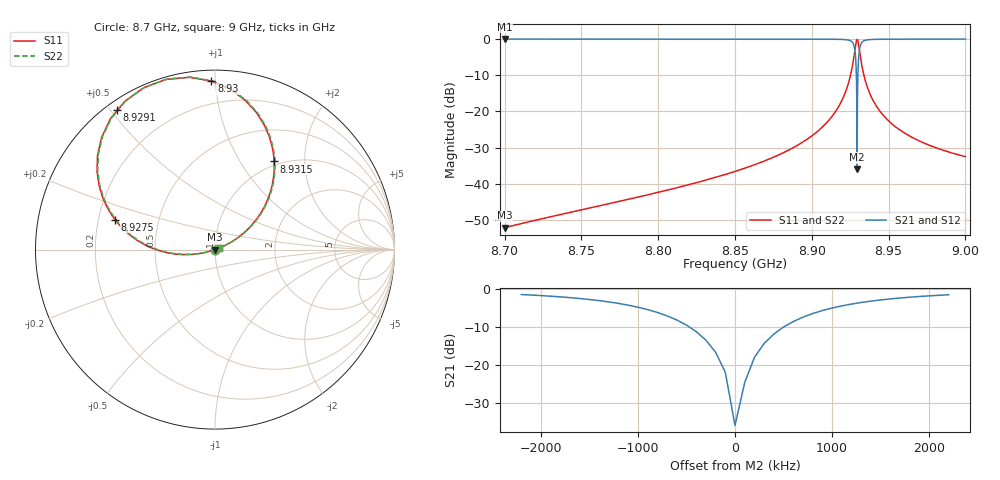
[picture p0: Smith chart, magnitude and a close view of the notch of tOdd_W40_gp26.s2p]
! Sonnet Data File
! From: emgraph Version : 16.52
! From Project: transmon_trial2
! Data is De-embedded
! Data File Written: 10/20/2017 11:33:10
!< HDATE 10/20/2017 10:41:42
!< MDATE 10/20/2017 10:41:42
!< PARAMS
!< Lj = 15.24
!< Gap = 26.0
!< Width = 40.0
!< Airgap = 24.0
!< Pwidth = 2000.0
!< END PARAMS
# GHZ S MA R 43.50000
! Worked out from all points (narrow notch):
!   3001 points, 8.7 GHz to 9 GHz, reference 43.5 ohm
!   highest |S21| = 0.00 dB at 8.7 GHz (marker M1); lowest = -36.0 dB at 8.9295 GHz (marker M2)
!   notch at M2: 36.0 dB deep, 379 kHz wide at half that depth
!   lowest |S11| = -52.1 dB at 8.7 GHz (marker M3), VSWR 1.00, Z = 43.3 - j0.0697 ohm
!   |S11| at or under -10 dB: start of sweep to 8.9252 GHz; 8.9339 GHz to end of sweep
!   |S22| runs from -52.1 to -0.1 dB; largest |S21 - S12| = 0
!   S11 on the Smith chart (normalised r, x): 8.7 GHz: 1.00, -0.00; 8.9275 GHz: 0.27, +0.14; 8.9291 GHz: 0.03, +0.52; 8.93 GHz: 0.06, +0.98; 8.9315 GHz: 0.94, +1.42; 9 GHz: 1.05, +0.02
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8.7  0.002485 -161.1  1 -69.2  1 -69.2  0.002486 -157.1
!< P1 F=8.7 Eeff=(4.81555861 -6.2189e-5) Z0=(43.3296017 -1.7655e-4) R=0.0 C=0.0
!< P2 F=8.7 Eeff=(4.81555861 -6.2189e-5) Z0=(43.3296017 -1.7655e-4) R=0.0 C=0.0
8.75  0.004379 -160.7  1 -69.7  1 -69.7  0.004379 -158.6
8.8  0.007641 -160.8  1 -70.3  1 -70.3  0.007641 -159.7
8.85  0.01485 -161.2  0.9999 -71.1  0.9999 -71.1  0.01485 -160.9
8.9  0.04599 -163.2  0.9989 -73.3  0.9989 -73.3  0.04599 -163.4
8.9108  0.07436 -164.9  0.9972 -75.0  0.9972 -75.0  0.07436 -165.2
8.9186  0.1291 -168.1  0.9914 -78.2  0.9914 -78.2  0.1291 -168.5
8.9252  0.3169 -179.3  0.9472 -89.3  0.9472 -89.3  0.3169 -179.8
8.9265  0.4319 173.5  0.8995 -96.4  0.8995 -96.4  0.4319 173.0
8.9275  0.5819 163.3  0.8083 -106.4  0.8083 -106.4  0.5819 162.8
8.9283  0.7618 148.9  0.6371 -120.5  0.6371 -120.5  0.7618 148.5
8.9291  0.9512 125.1  0.2718 -142.8  0.2718 -142.8  0.9512 124.7
8.9295  0.9884 110.0  0.01581 -113.2  0.01581 -113.2  0.9883 109.5
8.93  0.9393 91.2  0.3117 -1.0  0.3117 -1.0  0.9392 90.7
8.9308  0.7465 68.4  0.6556 -22.6  0.6556 -22.6  0.7465 67.9
8.9315  0.5914 56.1  0.8013 -34.6  0.8013 -34.6  0.5914 55.6
8.9332  0.37 41.3  0.9273 -49.2  0.9273 -49.2  0.37 40.8
8.9358  0.2289 32.7  0.9728 -57.7  0.9728 -57.7  0.2289 32.2
8.9416  0.1229 26.5  0.9922 -63.9  0.9922 -63.9  0.1229 25.9
8.95  0.0742 23.6  0.9972 -66.8  0.9972 -66.8  0.0742 22.9
8.9701  0.03907 21.5  0.9992 -69.0  0.9992 -69.0  0.03907 20.7
9  0.02378 20.4  0.9997 -70.1  0.9997 -70.1  0.02378 19.4
